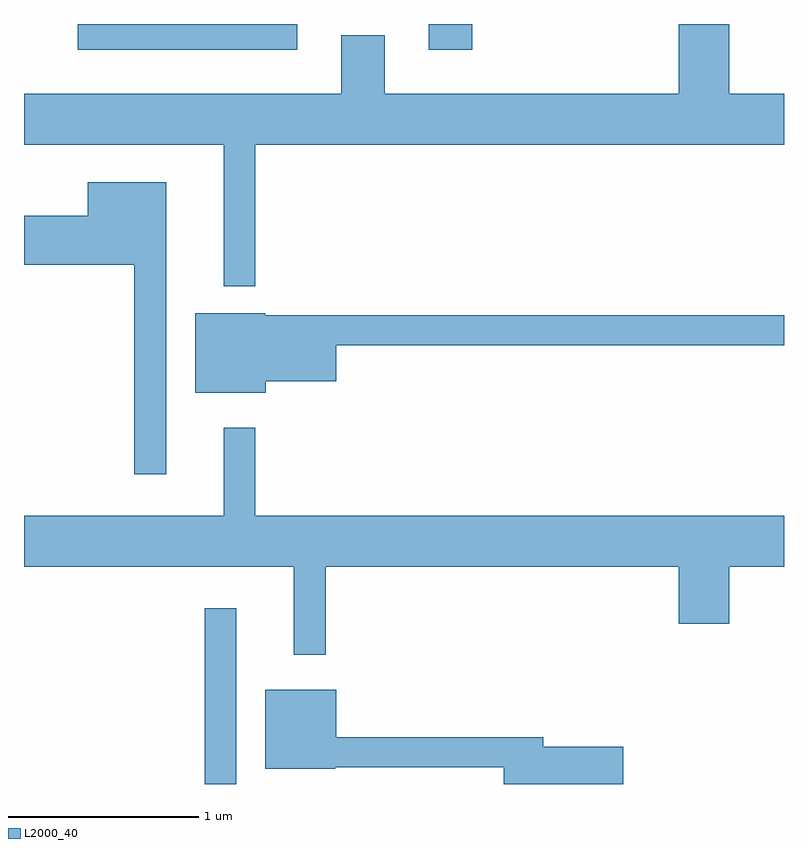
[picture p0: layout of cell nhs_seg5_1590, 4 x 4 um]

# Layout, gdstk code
import gdstk
lib = gdstk.Library(unit=1e-6, precision=1e-09)
def R(c, l, rs):  # rectangles x0, y0, x1, y1
    for r in rs: c.add(gdstk.rectangle(r[:2], r[2:], *l))
def P(c, l, *ps):  # polygons
    for p in ps: c.add(gdstk.Polygon(p, *l))
L2000_40 = (2000, 40)

nhs_seg5_1590 = lib.new_cell('nhs_seg5_1590')
R(nhs_seg5_1590, L2000_40, [(232.561,1480.072,232.729,1480.998), (231.893,1483.936,233.049,1484.072), (233.741,1483.936,233.969,1484.072)])
P(nhs_seg5_1590, L2000_40, [(232.829,1483.436),(235.611,1483.436),(235.611,1483.704),(235.324,1483.704),(235.324,1484.072),(235.056,1484.072),(235.056,1483.704),(233.509,1483.704),(233.509,1484.014),(233.281,1484.014),(233.281,1483.704),(231.611,1483.704),(231.611,1483.436),(232.661,1483.436),(232.661,1482.693),(232.829,1482.693)],
  [(232.359,1483.239),(231.946,1483.239),(231.946,1483.064),(231.611,1483.064),(231.611,1482.806),(232.191,1482.806),(232.191,1481.703),(232.359,1481.703)],
  [(232.884,1482.191),(233.254,1482.191),(233.254,1482.381),(235.611,1482.381),(235.611,1482.539),(232.88,1482.539),(232.88,1482.549),(232.511,1482.549),(232.511,1482.131),(232.884,1482.131)],
  [(233.199,1481.216),(235.056,1481.216),(235.056,1480.916),(235.324,1480.916),(235.324,1481.216),(235.611,1481.216),(235.611,1481.484),(232.829,1481.484),(232.829,1481.948),(232.661,1481.948),(232.661,1481.484),(231.611,1481.484),(231.611,1481.216),(233.031,1481.216),(233.031,1480.753),(233.199,1480.753)],
  [(234.764,1480.269),(234.344,1480.269),(234.344,1480.319),(233.254,1480.319),(233.254,1480.569),(232.881,1480.569),(232.881,1480.151),(233.25,1480.151),(233.25,1480.161),(234.136,1480.161),(234.136,1480.072),(234.764,1480.072)])

lib.write_gds('nhs_seg5_1590.gds')
